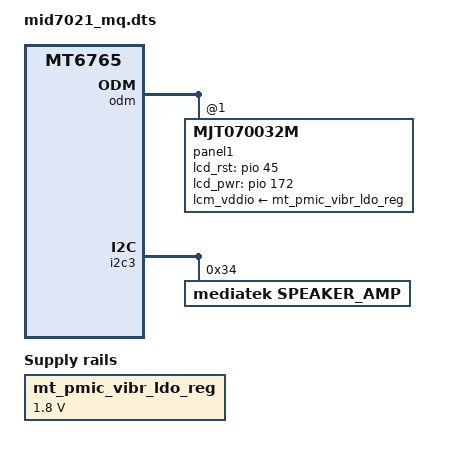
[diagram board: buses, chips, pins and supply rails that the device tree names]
// SPDX-License-Identifier: GPL-2.0+
/*
 * mid7021_mq.dts — Onn 100135924 (mid7021_mq), MediaTek MT6765
 *
 * ARM64 board overlay scaffold for the v7a->v8a migration.
 * Modeled on the proven p410ae.dts overlay pattern in this tree, but stripped
 * to ONLY what the live device DTS (kernel_work/mid7021_analysis/mid7021_live.dts)
 * actually confirms. Do NOT add p410ae phone peripherals back without evidence.
 *
 * STATUS: UNVALIDATED SCAFFOLD. This is finalized through the build loop in
 * tools/build_arm64_kernel.sh — let compiler/dtc errors drive the include
 * wiring and node corrections. See MID7021_ARM64_DTS_PLAN_2026-05-31.md.
 *
 * Confirmed from live DTS:
 *   - SoC: mediatek,MT6765, 8x Cortex-A53
 *   - PMIC/charger/gauge: mt6357 (PMIC-integrated) — NO external mt6370/typec
 *   - Touch: goodix,touch on spi3
 *   - Connectivity: mt6765-consys (built-in wifi/bt)
 *   - androidboot.hardware=mt6765
 * Intentionally OMITTED (Motorola-only, absent on this tablet):
 *   - mt6370 PMU / mt6370_typec / mt6370_chg
 *   - fingerprint: spi0 fingerprint@0 / goodix_fp / fpsensor / fp_egistec
 *   - NFC (sec-nfc), AW9610x SAR, AW87xxx smart-PA, aw36514 flash
 */

#include <dt-bindings/interrupt-controller/arm-gic.h>
#include <dt-bindings/interrupt-controller/irq.h>
#include <dt-bindings/pinctrl/mt6765-pinfunc.h>
#include <dt-bindings/clock/mt6765-clk.h>

/dts-v1/;
/plugin/;

/* chosen ----------------------------------------------------------------- *
 * On a real boot, LK detects the panel and passes videolfb-lcmname at
 * runtime. These are FPGA/no-LK fallbacks only.
 * TODO(panel): set lcmname to the mid7021 LCM driver name once the panel
 * driver is sourced. Candidates from defconfig CONFIG_CUSTOM_KERNEL_LCM:
 *   SAT070HK30I21Y03  MJT070032M  F070A67_601  RS070WS105A4
 * Panel geometry per defconfig: 600x1024, physical rotation 270 (=> 1024x600
 * landscape).
 */
&chosen {
	atag,videolfb-islcmfound = <1>;
	atag,videolfb-islcm_inited = <0>;
	atag,videolfb-lcmname = "MJT070032M";
};

/* Stock DTBO and expdb prove MJT070032M, reset GPIO45, power GPIO172, and
 * MT6357 VIBR LDO at 1.8 V; the existing MediaTek LCD LED keeps PWM control. */
&odm {
	panel1@1 {
		compatible = "MJT070032M";
		gpio_lcd_rst = <&pio 45 0>;
		gpio_lcd_pwr = <&pio 172 0>;
		max-brightness = <230>;
		lcm_vddio-supply = <&mt_pmic_vibr_ldo_reg>;
		status = "okay";
	};
};

&mt_pmic_vibr_ldo_reg {
	regulator-min-microvolt = <1800000>;
	regulator-max-microvolt = <1800000>;
	regulator-active-discharge = <1>;
};

/* Audio ------------------------------------------------------------------ *
 * TODO(audio): confirm speaker amp from live DTS. p410ae used AWINIC AW87xxx
 * on i2c3 + I2S3 routing — likely different (or internal class-D via mt6357)
 * on this tablet. Leave amp out until confirmed; mt6357 codec comes from base.
 */

/* Audio speaker amp - CONFIRMED 2026-06-23 from v7a live DT (root su):
 * i2c3@1100f000/speaker_amp@34, compatible mediatek,speaker_amp, reg 0x34,
 * driver-bound on stock v7a via mtk-soc-speaker-amp.c (Speaker_Amp_Switch kctl).
 * aw87519@58 on i2c6 is declared but UNDRIVEN on v7a -> donor red herring.
 */
&i2c3 {
	speaker_amp@34 {
		compatible = "mediatek,speaker_amp";
		reg = <0x34>;
		status = "okay";
	};
};

/* Board peripheral dtsis (these ARE correct for mid7021) ----------------- */
#include "mediatek/cust_mt6765_camera_mid7021.dtsi"
#include "mediatek/cust_mt6765_touch_mid7021.dtsi"
/* End of file, DO NOT ADD ANYTHING HERE */
